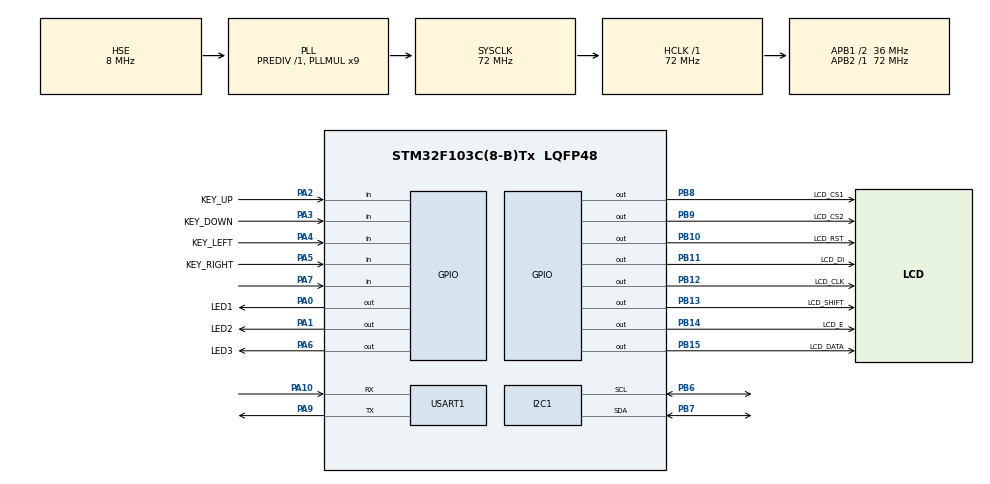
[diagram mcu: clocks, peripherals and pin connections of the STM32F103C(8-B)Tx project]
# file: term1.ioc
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Mcu.Family=STM32F1
Mcu.Name=STM32F103C(8-B)Tx
Mcu.Package=LQFP48
NVIC.I2C1_ER_IRQn=true\:0\:0\:false\:false\:true\:true\:true
NVIC.I2C1_EV_IRQn=true\:0\:0\:false\:false\:true\:true\:true
NVIC.PriorityGroup=NVIC_PRIORITYGROUP_4
NVIC.RTC_IRQn=true\:0\:0\:false\:false\:true\:true\:true
PA0-WKUP.GPIO_Label=LED1
PA0-WKUP.GPIO_Speed=GPIO_SPEED_FREQ_MEDIUM
PA0-WKUP.Signal=GPIO_Output
PA1.GPIO_Label=LED2
PA1.GPIO_Speed=GPIO_SPEED_FREQ_MEDIUM
PA1.Signal=GPIO_Output
PA10.Mode=Asynchronous
PA10.Signal=USART1_RX
PA13.Mode=Serial_Wire
PA13.Signal=SYS_JTMS-SWDIO
PA14.Mode=Serial_Wire
PA14.Signal=SYS_JTCK-SWCLK
PA2.GPIO_Label=KEY_UP
PA2.GPIO_PuPd=GPIO_PULLUP
PA2.Signal=GPIO_Input
PA3.GPIO_Label=KEY_DOWN
PA3.GPIO_PuPd=GPIO_PULLUP
PA3.Signal=GPIO_Input
PA4.GPIO_Label=KEY_LEFT
PA4.GPIO_PuPd=GPIO_PULLUP
PA4.Signal=GPIO_Input
PA5.GPIO_Label=KEY_RIGHT
PA5.GPIO_PuPd=GPIO_PULLUP
PA5.Signal=GPIO_Input
PA6.GPIO_Label=LED3
PA6.GPIO_Speed=GPIO_SPEED_FREQ_MEDIUM
PA6.Signal=GPIO_Output
PA7.Signal=GPIO_Input
PA9.Mode=Asynchronous
PA9.Signal=USART1_TX
PB10.GPIO_Label=LCD_RST
PB10.GPIO_PuPd=GPIO_PULLUP
PB10.GPIO_Speed=GPIO_SPEED_FREQ_HIGH
PB10.PinState=GPIO_PIN_SET
PB10.Signal=GPIO_Output
PB11.GPIO_Label=LCD_DI
PB11.GPIO_PuPd=GPIO_PULLUP
PB11.GPIO_Speed=GPIO_SPEED_FREQ_HIGH
PB11.Signal=GPIO_Output
PB12.GPIO_Label=LCD_CLK
PB12.GPIO_PuPd=GPIO_PULLUP
PB12.GPIO_Speed=GPIO_SPEED_FREQ_HIGH
PB12.Signal=GPIO_Output
PB13.GPIO_Label=LCD_SHIFT
PB13.GPIO_PuPd=GPIO_PULLUP
PB13.GPIO_Speed=GPIO_SPEED_FREQ_HIGH
PB13.Signal=GPIO_Output
PB14.GPIO_Label=LCD_E
PB14.GPIO_PuPd=GPIO_PULLUP
PB14.GPIO_Speed=GPIO_SPEED_FREQ_HIGH
PB14.Signal=GPIO_Output
PB15.GPIO_Label=LCD_DATA
PB15.GPIO_PuPd=GPIO_PULLUP
PB15.GPIO_Speed=GPIO_SPEED_FREQ_HIGH
PB15.Signal=GPIO_Output
PB6.Mode=I2C
PB6.Signal=I2C1_SCL
PB7.Mode=I2C
PB7.Signal=I2C1_SDA
PB8.GPIO_Label=LCD_CS1
PB8.GPIO_PuPd=GPIO_PULLUP
PB8.GPIO_Speed=GPIO_SPEED_FREQ_HIGH
PB8.Signal=GPIO_Output
PB9.GPIO_Label=LCD_CS2
PB9.GPIO_PuPd=GPIO_PULLUP
PB9.GPIO_Speed=GPIO_SPEED_FREQ_HIGH
PB9.Signal=GPIO_Output
PC14-OSC32_IN.Mode=LSE-External-Oscillator
PC14-OSC32_IN.Signal=RCC_OSC32_IN
PC15-OSC32_OUT.Mode=LSE-External-Oscillator
PC15-OSC32_OUT.Signal=RCC_OSC32_OUT
PD0-OSC_IN.Mode=HSE-External-Oscillator
PD0-OSC_IN.Signal=RCC_OSC_IN
PD1-OSC_OUT.Mode=HSE-External-Oscillator
PD1-OSC_OUT.Signal=RCC_OSC_OUT
ProjectManager.HeapSize=0x200
ProjectManager.StackSize=0x400
ProjectManager.TargetToolchain=Makefile
RCC.AHBFreq_Value=72000000
RCC.APB1CLKDivider=RCC_HCLK_DIV2
RCC.APB1Freq_Value=36000000
RCC.APB1TimFreq_Value=72000000
RCC.APB2Freq_Value=72000000
RCC.APB2TimFreq_Value=72000000
RCC.HCLKFreq_Value=72000000
RCC.PLLMUL=RCC_PLL_MUL9
RCC.PLLSourceVirtual=RCC_PLLSOURCE_HSE
RCC.RTCClockSelection=RCC_RTCCLKSOURCE_LSE
RCC.SYSCLKFreq_VALUE=72000000
RCC.SYSCLKSource=RCC_SYSCLKSOURCE_PLLCLK
RCC.USBFreq_Value=72000000
TIM1.Period=0xFFFF
TIM1.Prescaler=71
USART1.VirtualMode=VM_ASYNC
VP_RTC_VS_RTC_Activate.Mode=RTC_Enabled
VP_TIM1_VS_ClockSourceINT.Mode=Internal
board=custom

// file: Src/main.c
/* USER CODE BEGIN Header */
/**
  ******************************************************************************
  * @file           : main.c
  * @brief          : Main program body
  ******************************************************************************
  * @attention
  *
  * <h2><center>&copy; Copyright (c) 2019 STMicroelectronics.
  * All rights reserved.</center></h2>
  *
  * This software component is licensed by ST under BSD 3-Clause license,
  * the "License"; You may not use this file except in compliance with the
  * License. You may obtain a copy of the License at:
  *                        opensource.org/licenses/BSD-3-Clause
  *
  ******************************************************************************
  */
/* USER CODE END Header */

#include "main.h"
#include "i2c.h"
#include "rtc.h"
#include "tim.h"
#include "usart.h"
#include "gpio.h"

/* USER CODE BEGIN Includes */
#include "scheduler.h"
#include "lcdwg.h"
#include "printf-stdarg.h"
#include "ds18b20.h"
#include "onewire.h"
#include "m_rtc_2001.h"
#include "key.h"
#include "menu.h"
#include "init.h"
#include <stdio.h>
/* USER CODE END Includes */

/* USER CODE BEGIN PV */
uint8_t aShowTime[TIME_BUFFER_LENGTH] = {0};
uint8_t aShowDate[DATE_BUFFER_LENGTH] = {0};
RTC_TimeTypeDef sTime;
RTC_DateTypeDef sDate;
uint8_t gSensorIDs[MAXSENSORS][OW_ROMCODE_SIZE];
char owIDString[MAXSENSORS][17];
uint8_t nSensors;
uint8_t ticksBlink = 0;
sensorData_t sensorInside;
sensorData_t sensorOutside;
sensorData_t sensorCooland;
/* uint8_t keyPressed; */
uint8_t resultMeasureOutside[3];
uint8_t resultMeasureInside[3];
uint8_t resultMeasureCoolant[3];
extern uint8_t tempLcd[];
extern stateElement startState;
extern stateElement settingState;
extern int16_t settedComfortTemp;
extern int16_t settedWorkTimeTemp;
extern int16_t settedSleepTimeTemp;
extern char variableChar[VARIABLE_CHAR_DATA_LENGTH];
extern const char *dayOfWeek[7];
const char *modeWorkText[3] = {
	"Auto",
	"Manual",
	"OFF"
};
const char noSensor[] = "---";
uint8_t modeWorkVar = AUTO_MODE_WORK;
/* USER CODE END PV */

void SystemClock_Config(void);
/* USER CODE BEGIN PFP */
void Show_RTC_Calendar(void);
void setDataTime(void);
uint8_t DS18X20_search_sensors(uint8_t sensorID[][OW_ROMCODE_SIZE]);
void LedBlink1(void);
void LedBlink2(void);
void StartMeasure(void);
void ReadMeasure(void);
/* USER CODE END PFP */

int main(void)
{

  /* MCU Configuration--------------------------------------------------------*/

  /* Reset of all peripherals, Initializes the Flash interface and the Systick. */
  HAL_Init();

  /* Configure the system clock */
  SystemClock_Config();

  /* Initialize all configured peripherals */
  MX_GPIO_Init();
  MX_RTC_Init();
  MX_TIM1_Init();
  MX_USART1_UART_Init();
  MX_I2C1_Init();
  /* USER CODE BEGIN 2 */
	HAL_RTCEx_SetSecond_IT(&hrtc);
	/* setDataTime(); */
	mRTC_Begin(&hrtc);
	Show_RTC_Calendar();
	OW_Init();
	nSensors = DS18X20_search_sensors(gSensorIDs);
	InitMain();
	/* sensorInside.present = 1; */
	OS_AddTask(LedBlink1, 0, 200);
	OS_AddTask(LedBlink2, 100, 500);
	OS_AddTask(StartMeasure, 0, 0);
	OS_AddTask(KeyHand, 0, 32);
	LcdInit();
	LcdShow();
  /* USER CODE END 2 */

  /* Infinite loop */
  /* USER CODE BEGIN WHILE */
	while (1)
	{
		OS_Dispatch();
    /* USER CODE END WHILE */

	}
}

void SystemClock_Config(void)
{
  RCC_OscInitTypeDef RCC_OscInitStruct = {0};
  RCC_ClkInitTypeDef RCC_ClkInitStruct = {0};
  RCC_PeriphCLKInitTypeDef PeriphClkInit = {0};

  /** Initializes the CPU, AHB and APB busses clocks
  */
  RCC_OscInitStruct.OscillatorType = RCC_OSCILLATORTYPE_HSE|RCC_OSCILLATORTYPE_LSE;
  RCC_OscInitStruct.HSEState = RCC_HSE_ON;
  RCC_OscInitStruct.HSEPredivValue = RCC_HSE_PREDIV_DIV1;
  RCC_OscInitStruct.LSEState = RCC_LSE_ON;
  RCC_OscInitStruct.HSIState = RCC_HSI_ON;
  RCC_OscInitStruct.PLL.PLLState = RCC_PLL_ON;
  RCC_OscInitStruct.PLL.PLLSource = RCC_PLLSOURCE_HSE;
  RCC_OscInitStruct.PLL.PLLMUL = RCC_PLL_MUL9;
  if (HAL_RCC_OscConfig(&RCC_OscInitStruct) != HAL_OK)
  {
    Error_Handler();
  }
  /** Initializes the CPU, AHB and APB busses clocks
  */
  RCC_ClkInitStruct.ClockType = RCC_CLOCKTYPE_HCLK|RCC_CLOCKTYPE_SYSCLK
                              |RCC_CLOCKTYPE_PCLK1|RCC_CLOCKTYPE_PCLK2;
  RCC_ClkInitStruct.SYSCLKSource = RCC_SYSCLKSOURCE_PLLCLK;
  RCC_ClkInitStruct.AHBCLKDivider = RCC_SYSCLK_DIV1;
  RCC_ClkInitStruct.APB1CLKDivider = RCC_HCLK_DIV2;
  RCC_ClkInitStruct.APB2CLKDivider = RCC_HCLK_DIV1;

  if (HAL_RCC_ClockConfig(&RCC_ClkInitStruct, FLASH_LATENCY_2) != HAL_OK)
  {
    Error_Handler();
  }
  PeriphClkInit.PeriphClockSelection = RCC_PERIPHCLK_RTC;
  PeriphClkInit.RTCClockSelection = RCC_RTCCLKSOURCE_LSE;
  if (HAL_RCCEx_PeriphCLKConfig(&PeriphClkInit) != HAL_OK)
  {
    Error_Handler();
  }
}

/* USER CODE BEGIN 4 */
void ShowLcdMain(void)
{
	LcdClear();
	rect_t rec;
	/* Show temperature inside */
	RECT_SET(rec, 0, 11, 71, 35);
	if (sensorInside.present)
	{
		TempOut(resultMeasureInside);
		LcdDrawText(rec, DT_LEFT | DT_VCENTER, Font, LCD_MODE_NORM, (const char*)tempLcd);
	}
	else LcdDrawText(rec, DT_LEFT | DT_VCENTER, Font, LCD_MODE_NORM, noSensor);
	/* Show temperature outside */
	RECT_SET(rec, 84, 19, LCD_X_RES - 86, 11);
	if (sensorOutside.present)
	{
		TempOut(resultMeasureOutside);
		LcdDrawText(rec, DT_CENTER | DT_VCENTER, Arial9_b, LCD_MODE_NORM, (const char*)tempLcd);
	}
	else LcdDrawText(rec, DT_CENTER | DT_VCENTER, Arial9_b, LCD_MODE_NORM, noSensor);
	/* Show temperature water */
	RECT_SET(rec, 84, LCD_Y_RES - 25, LCD_X_RES - 86, 11);
	if (sensorCooland.present)
	{
		TempOut(resultMeasureCoolant);
		LcdDrawText(rec, DT_CENTER | DT_VCENTER, Arial9_b, LCD_MODE_NORM, (const char*)tempLcd);
	}
	else LcdDrawText(rec, DT_CENTER | DT_VCENTER, Arial9_b, LCD_MODE_NORM, noSensor);
	/* Show frame */
	LcdDrawFrame(84, LCD_X_RES - 1, 10, LCD_Y_RES - 14, LCD_MODE_NORM);
	RECT_SET(rec, 84, 10, LCD_X_RES - 85, 9);
	LcdDrawText(rec, DT_CENTER | DT_VCENTER, Arial7, LCD_MODE_INVERSE, "Outside");
	RECT_SET(rec, 84, 30, LCD_X_RES - 85, 9);
	LcdDrawText(rec, DT_CENTER | DT_VCENTER, Arial7, LCD_MODE_INVERSE, "Coolant");
	/* Show date */
	RECT_SET(rec, 64, 0, 63, 10);
	LcdDrawText(rec, DT_RIGHT, Arial9_b, LCD_MODE_NORM, (const char*)aShowDate);
	/* Show time */
	/* RECT_SET(rec, 0, 53, 63, 10); */
	RECT_SET(rec, 0, 0, 50, 10);
	LcdDrawText(rec, DT_LEFT, Arial9_b, LCD_MODE_NORM, (const char*)aShowTime);
	/* Show day of week */
	RECT_SET(rec, 55, 0, 20, 10);
	uint8_t dayWeek = mRTC_GetWeekDay(&hrtc);
	LcdDrawText(rec, DT_CENTER, Arial9_b, LCD_MODE_NORM, dayOfWeek[dayWeek]);
	/* Show setted temperature */
	RECT_SET(rec, 0, 53, 21, 10);
	LcdDrawText(rec, DT_LEFT, Arial9_b, LCD_MODE_NORM, "Set:");
	RECT_SET(rec, 22, 53, 24, 10);
	int16_t tempTemp = TermGetWorkTemp();
	if (tempTemp)
	{
		VariableToLcd(&tempTemp, variableChar,  COMMA);
		LcdDrawText(rec, DT_LEFT, Arial9_b, LCD_MODE_NORM, variableChar);
	}
	else LcdDrawText(rec, DT_LEFT, Arial9_b, LCD_MODE_NORM, " ---");
	/* Show mode work */
	RECT_SET(rec, 84, 52, LCD_X_RES - 84 - 1, 11);
	LcdDrawText(rec, DT_CENTER | DT_VCENTER, Arial9_b, LCD_MODE_INVERSE, modeWorkText[modeWorkVar]);
}
void HAL_RTCEx_RTCEventCallback(RTC_HandleTypeDef* hrtc)
{
	Show_RTC_Calendar();
}

void Show_RTC_Calendar(void)
{
	mRTC_GetTime(&hrtc, &sTime, RTC_FORMAT_BIN);
	sprintf((char*)aShowTime, "%.2d:%.2d:%.2d", sTime.Hours, sTime.Minutes, sTime.Seconds);
	mRTC_GetDate(&hrtc, &sDate, RTC_FORMAT_BIN);
	sprintf((char*)aShowDate, "%.2d/%.2d/%.2d", sDate.Date, sDate.Month, sDate.Year);
}

void setDataTime(void)
{
	sTime.Hours = 21;
	sTime.Minutes = 20;
	sTime.Seconds = 0;
	if (mRTC_SetTime(&hrtc, &sTime, RTC_FORMAT_BIN) != HAL_OK)
	{
		Error_Handler();
	}
	sDate.Date = 7;
	sDate.Month = 11;
	sDate.Year = 19;
	if (mRTC_SetDate(&hrtc, &sDate, RTC_FORMAT_BIN) != HAL_OK)
	{
		Error_Handler();
	}
}

void StartMeasure(void)
{
	DS18X20_start_meas(DS18X20_POWER_EXTERN, 0);
	OS_AddTask(ReadMeasure, 700, 0);
}

void ReadMeasure(void)
{
	if(sensorInside.present)
		DS18X20_read_meas(&gSensorIDs[sensorInside.index][0], resultMeasureInside);
	if(sensorOutside.present)
		DS18X20_read_meas(&gSensorIDs[sensorOutside.index][0], resultMeasureOutside);
	if(sensorCooland.present)
		DS18X20_read_meas(&gSensorIDs[sensorCooland.index][0], resultMeasureCoolant);
	OS_AddTask(StartMeasure, 5000, 0);
}

void LedBlink1(void)
{
	HAL_GPIO_TogglePin(LED1_GPIO_Port, LED1_Pin);
}

void LedBlink2(void)
{
	HAL_GPIO_TogglePin(LED2_GPIO_Port, LED2_Pin);
	if (ticksBlink == 0)
		ticksBlink = 1;
	else ticksBlink = 0;
}
/* USER CODE END 4 */

void Error_Handler(void)
{
}

/************************ (C) COPYRIGHT STMicroelectronics *****END OF FILE****/
